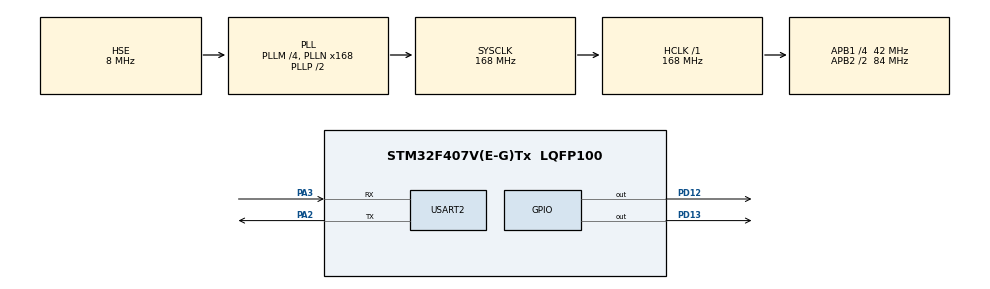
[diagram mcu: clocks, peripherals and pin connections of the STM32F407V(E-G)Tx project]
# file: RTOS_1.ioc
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FREERTOS.Tasks01=defaultTask,0,128,StartDefaultTask,Default,NULL,Dynamic,NULL,NULL;Task2,0,128,Task2_init,Default,NULL,Dynamic,NULL,NULL
Mcu.Family=STM32F4
Mcu.Name=STM32F407V(E-G)Tx
Mcu.Package=LQFP100
NVIC.PriorityGroup=NVIC_PRIORITYGROUP_4
NVIC.TIM1_UP_TIM10_IRQn=true\:0\:0\:false\:false\:true\:false\:false\:true
NVIC.TimeBase=TIM1_UP_TIM10_IRQn
NVIC.TimeBaseIP=TIM1
PA2.Mode=Asynchronous
PA2.Signal=USART2_TX
PA3.Mode=Asynchronous
PA3.Signal=USART2_RX
PD12.Signal=GPIO_Output
PD13.Signal=GPIO_Output
PH0-OSC_IN.Mode=HSE-External-Oscillator
PH0-OSC_IN.Signal=RCC_OSC_IN
PH1-OSC_OUT.Mode=HSE-External-Oscillator
PH1-OSC_OUT.Signal=RCC_OSC_OUT
ProjectManager.HeapSize=0x200
ProjectManager.StackSize=0x400
ProjectManager.TargetToolchain=MDK-ARM V5.27
RCC.48MHZClocksFreq_Value=84000000
RCC.AHBFreq_Value=168000000
RCC.APB1CLKDivider=RCC_HCLK_DIV4
RCC.APB1Freq_Value=42000000
RCC.APB1TimFreq_Value=84000000
RCC.APB2CLKDivider=RCC_HCLK_DIV2
RCC.APB2Freq_Value=84000000
RCC.APB2TimFreq_Value=168000000
RCC.CortexFreq_Value=168000000
RCC.HCLKFreq_Value=168000000
RCC.HSE_VALUE=8000000
RCC.HSI_VALUE=16000000
RCC.LSE_VALUE=32768
RCC.PLLM=4
RCC.PLLN=168
RCC.PLLSourceVirtual=RCC_PLLSOURCE_HSE
RCC.SYSCLKFreq_VALUE=168000000
RCC.SYSCLKSource=RCC_SYSCLKSOURCE_PLLCLK
RCC.VCOOutputFreq_Value=336000000
USART2.VirtualMode=VM_ASYNC
VP_FREERTOS_VS_CMSIS_V1.Mode=CMSIS_V1
VP_SYS_VS_tim1.Mode=TIM1
board=custom

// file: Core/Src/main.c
/* USER CODE BEGIN Header */
/**
  ******************************************************************************
  * @file           : main.c
  * @brief          : Main program body
  ******************************************************************************
  * @attention
  *
  * <h2><center>&copy; Copyright (c) 2021 STMicroelectronics.
  * All rights reserved.</center></h2>
  *
  * This software component is licensed by ST under Ultimate Liberty license
  * SLA0044, the "License"; You may not use this file except in compliance with
  * the License. You may obtain a copy of the License at:
  *                             www.st.com/SLA0044
  *
  ******************************************************************************
  */
/* USER CODE END Header */
#include "main.h"
#include "cmsis_os.h"

UART_HandleTypeDef huart2;

osThreadId defaultTaskHandle;
osThreadId Task2Handle;
osThreadId Task3Handle;

void SystemClock_Config(void);
static void MX_GPIO_Init(void);
static void MX_USART2_UART_Init(void);
void StartDefaultTask(void const * argument);
void Task2_init(void const * argument);

/* USER CODE BEGIN PFP */
void Task3_init(void const*argement);
/* USER CODE END PFP */

/* USER CODE BEGIN 0 */
void send_deftask(void)
{
	uint8_t data[]="Hello from deftask\n";
	HAL_UART_Transmit(&huart2,data,sizeof(data),500);
}
void send_task2(void)
{
	uint8_t data[]="Hello from task2\n";
	HAL_UART_Transmit(&huart2,data,sizeof(data),500);
}
void send_task3(void)
{
	uint8_t data[]="Hello from task3\n";
	HAL_UART_Transmit(&huart2,data,sizeof(data),500);
}
/* USER CODE END 0 */

int main(void)
{

  /* MCU Configuration--------------------------------------------------------*/

  /* Reset of all peripherals, Initializes the Flash interface and the Systick. */
  HAL_Init();

  /* Configure the system clock */
  SystemClock_Config();

  /* Initialize all configured peripherals */
  MX_GPIO_Init();
  MX_USART2_UART_Init();

  /* Create the thread(s) */
  /* definition and creation of defaultTask */
  osThreadDef(defaultTask, StartDefaultTask, osPriorityNormal, 0, 128);
  defaultTaskHandle = osThreadCreate(osThread(defaultTask), NULL);

  /* definition and creation of Task2 */
  osThreadDef(Task2, Task2_init, osPriorityAboveNormal, 0, 128);
  Task2Handle = osThreadCreate(osThread(Task2), NULL);

  /* USER CODE BEGIN RTOS_THREADS */
  /* add threads, ... */
	osThreadDef(Task3, Task3_init,osPriorityBelowNormal,0,128);
	Task3Handle = osThreadCreate(osThread(Task3), NULL);
  /* USER CODE END RTOS_THREADS */

  /* Start scheduler */
  osKernelStart();

  /* We should never get here as control is now taken by the scheduler */
  /* Infinite loop */
  while (1)
  {

    /* USER CODE BEGIN 3 */
//		HAL_GPIO_TogglePin(GPIOD,GPIO_PIN_12);
//		HAL_Delay(100);
//		HAL_GPIO_TogglePin(GPIOD,GPIO_PIN_13);
//		HAL_Delay(200);

  }
  /* USER CODE END 3 */
}

void SystemClock_Config(void)
{
  RCC_OscInitTypeDef RCC_OscInitStruct = {0};
  RCC_ClkInitTypeDef RCC_ClkInitStruct = {0};

  /** Configure the main internal regulator output voltage
  */
  __HAL_RCC_PWR_CLK_ENABLE();
  __HAL_PWR_VOLTAGESCALING_CONFIG(PWR_REGULATOR_VOLTAGE_SCALE1);
  /** Initializes the RCC Oscillators according to the specified parameters
  * in the RCC_OscInitTypeDef structure.
  */
  RCC_OscInitStruct.OscillatorType = RCC_OSCILLATORTYPE_HSE;
  RCC_OscInitStruct.HSEState = RCC_HSE_ON;
  RCC_OscInitStruct.PLL.PLLState = RCC_PLL_ON;
  RCC_OscInitStruct.PLL.PLLSource = RCC_PLLSOURCE_HSE;
  RCC_OscInitStruct.PLL.PLLM = 4;
  RCC_OscInitStruct.PLL.PLLN = 168;
  RCC_OscInitStruct.PLL.PLLP = RCC_PLLP_DIV2;
  RCC_OscInitStruct.PLL.PLLQ = 4;
  if (HAL_RCC_OscConfig(&RCC_OscInitStruct) != HAL_OK)
  {
    Error_Handler();
  }
  /** Initializes the CPU, AHB and APB buses clocks
  */
  RCC_ClkInitStruct.ClockType = RCC_CLOCKTYPE_HCLK|RCC_CLOCKTYPE_SYSCLK
                              |RCC_CLOCKTYPE_PCLK1|RCC_CLOCKTYPE_PCLK2;
  RCC_ClkInitStruct.SYSCLKSource = RCC_SYSCLKSOURCE_PLLCLK;
  RCC_ClkInitStruct.AHBCLKDivider = RCC_SYSCLK_DIV1;
  RCC_ClkInitStruct.APB1CLKDivider = RCC_HCLK_DIV4;
  RCC_ClkInitStruct.APB2CLKDivider = RCC_HCLK_DIV2;

  if (HAL_RCC_ClockConfig(&RCC_ClkInitStruct, FLASH_LATENCY_5) != HAL_OK)
  {
    Error_Handler();
  }
}

static void MX_USART2_UART_Init(void)
{

  huart2.Instance = USART2;
  huart2.Init.BaudRate = 115200;
  huart2.Init.WordLength = UART_WORDLENGTH_8B;
  huart2.Init.StopBits = UART_STOPBITS_1;
  huart2.Init.Parity = UART_PARITY_NONE;
  huart2.Init.Mode = UART_MODE_TX_RX;
  huart2.Init.HwFlowCtl = UART_HWCONTROL_NONE;
  huart2.Init.OverSampling = UART_OVERSAMPLING_16;
  if (HAL_UART_Init(&huart2) != HAL_OK)
  {
    Error_Handler();
  }

}

static void MX_GPIO_Init(void)
{
  GPIO_InitTypeDef GPIO_InitStruct = {0};

  /* GPIO Ports Clock Enable */
  __HAL_RCC_GPIOH_CLK_ENABLE();
  __HAL_RCC_GPIOA_CLK_ENABLE();
  __HAL_RCC_GPIOD_CLK_ENABLE();

  /*Configure GPIO pin Output Level */
  HAL_GPIO_WritePin(GPIOD, GPIO_PIN_12|GPIO_PIN_13, GPIO_PIN_RESET);

  /*Configure GPIO pins : PD12 PD13 */
  GPIO_InitStruct.Pin = GPIO_PIN_12|GPIO_PIN_13;
  GPIO_InitStruct.Mode = GPIO_MODE_OUTPUT_PP;
  GPIO_InitStruct.Pull = GPIO_NOPULL;
  GPIO_InitStruct.Speed = GPIO_SPEED_FREQ_LOW;
  HAL_GPIO_Init(GPIOD, &GPIO_InitStruct);

}

void StartDefaultTask(void const * argument)
{
  /* USER CODE BEGIN 5 */
  /* Infinite loop */
  for(;;)
  {
		//HAL_GPIO_TogglePin(GPIOD,GPIO_PIN_12);
		send_deftask();
    osDelay(1000);
  }
  /* USER CODE END 5 */
}

void Task2_init(void const * argument)
{
  /* USER CODE BEGIN Task2_init */
  /* Infinite loop */
  for(;;)
  {
		//HAL_GPIO_TogglePin(GPIOD,GPIO_PIN_13);
		send_task2();
    osDelay(1000);
  }
  /* USER CODE END Task2_init */
}
void Task3_init(void const*argument)
{
	while(1)
	{
		send_task3();
		osDelay(1000);
	}
}

 /**
  * @brief  Period elapsed callback in non blocking mode
  * @note   This function is called  when TIM1 interrupt took place, inside
  * HAL_TIM_IRQHandler(). It makes a direct call to HAL_IncTick() to increment
  * a global variable "uwTick" used as application time base.
  * @param  htim : TIM handle
  * @retval None
  */
void HAL_TIM_PeriodElapsedCallback(TIM_HandleTypeDef *htim)
{
  if (htim->Instance == TIM1) {
    HAL_IncTick();
  }
}

void Error_Handler(void)
{
  __disable_irq();
  while (1)
  {
  }
}

/************************ (C) COPYRIGHT STMicroelectronics *****END OF FILE****/
